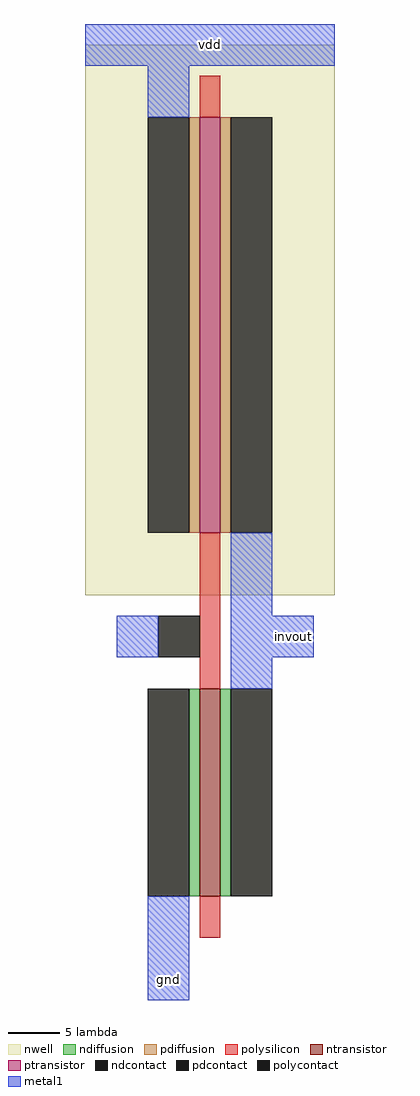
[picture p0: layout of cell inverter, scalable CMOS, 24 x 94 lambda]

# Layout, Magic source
magic
tech scmos
<< nwell >>
rect 20 53 44 106
<< ntransistor >>
rect 31 24 33 44
<< ptransistor >>
rect 31 59 33 99
<< ndiffusion >>
rect 30 24 31 44
rect 33 24 34 44
<< pdiffusion >>
rect 30 59 31 99
rect 33 59 34 99
<< ndcontact >>
rect 26 24 30 44
rect 34 24 38 44
<< pdcontact >>
rect 26 59 30 99
rect 34 59 38 99
<< polysilicon >>
rect 31 99 33 103
rect 31 44 33 59
rect 31 20 33 24
<< polycontact >>
rect 27 47 31 51
<< metal1 >>
rect 20 104 44 108
rect 26 99 30 104
rect 34 51 38 59
rect 23 47 27 51
rect 34 47 42 51
rect 34 44 38 47
rect 26 14 30 24
<< labels >>
rlabel metal1 20 104 44 108 5 vdd
rlabel metal1 26 14 30 18 1 gnd
rlabel metal1 38 47 42 51 3 invout
<< end >>
